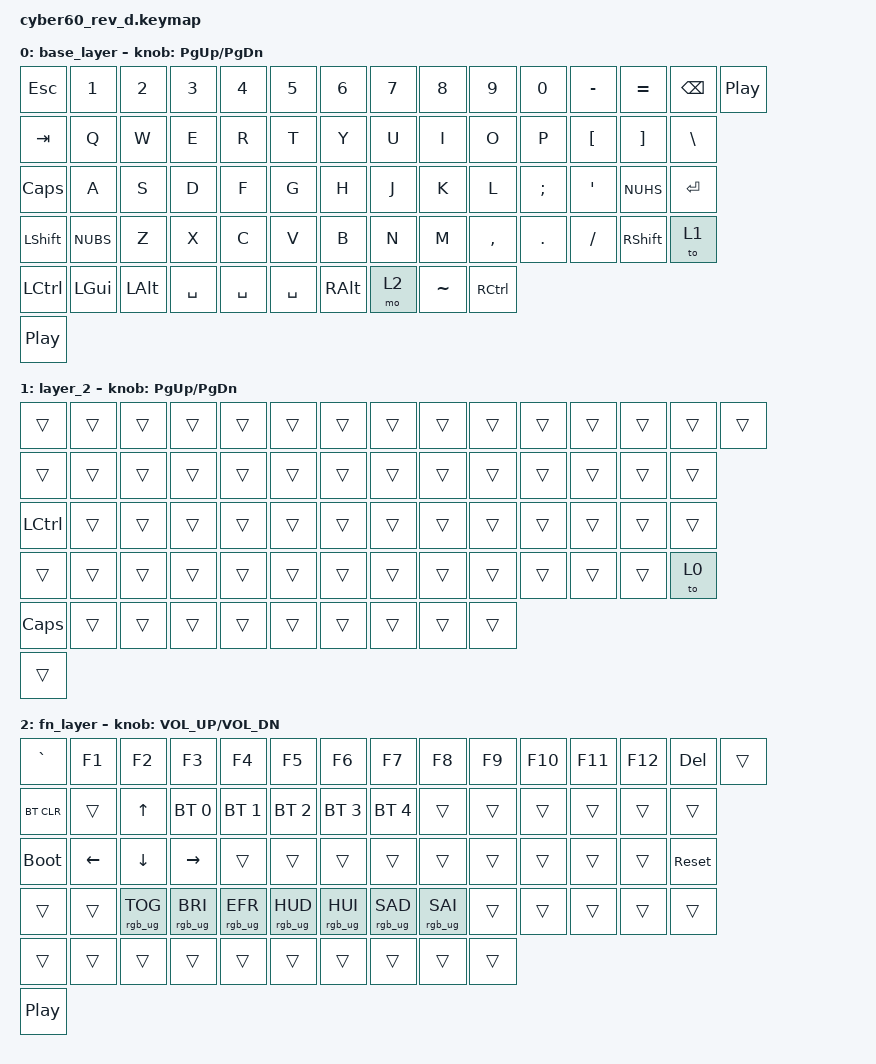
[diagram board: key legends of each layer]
#include <behaviors.dtsi>
#include <dt-bindings/zmk/bt.h>
#include <dt-bindings/zmk/keys.h>
#include <dt-bindings/zmk/rgb.h>

#define FN1 1

/ {
    combos {
        compatible = "zmk,combos";
    };

    keymap {
        compatible = "zmk,keymap";

        base_layer {
            // Base layer
            // ------------------------------------------------------------------------------------------
            // | ESC |  1  |  2  |  3  |  4  |  5  |  6  |  7  |  8  |  9  |  0  |  -  |  =  |   BKSP   |
            // |  TAB |  Q  |  W  |  E  |  R  |  T  |  Y  |  U  |  I  |  O  |  P  |  [  |  ]  |   "|"   |
            // | CAPS  |  A  |  S  |  D  |  F  |  G  |  H  |  J  |  K  |  L  |  ;  |  '  |NUHS| ENTER   |
            // | SHIFT |NUBS| Z |  X  |  C  |  V  |  B  |  N  |  M  |  ,  |  .  |  /  |    Shift   | FN |
            // |  LCTL  |  LWIN  |  LALT  | SPACE  | SPACE |    SPACE   |  RALT | FN  |   RWIN  | RCTRL |
            // | Rotary | (<-- Rotary switch) ----------------------------------------------------------- 

            bindings = <
&kp ESC    &kp N1    &kp N2    &kp N3     &kp N4     &kp N5     &kp NUMBER_6   &kp NUMBER_7  &kp N8     &kp N9     &kp N0    &kp MINUS  &kp EQUAL  &kp BACKSPACE  &kp C_PLAY_PAUSE
&kp TAB    &kp Q     &kp W     &kp E      &kp R      &kp T      &kp Y          &kp U         &kp I      &kp O      &kp P     &kp LBKT   &kp RBKT   &kp BSLH
&kp CLCK   &kp A     &kp S     &kp D      &kp F      &kp G      &kp H          &kp J         &kp K      &kp L      &kp SEMI  &kp SQT    &kp NUHS   &kp RET
&kp LSHFT  &kp NUBS  &kp Z     &kp X      &kp C      &kp V      &kp B          &kp N         &kp M      &kp COMMA  &kp DOT   &kp FSLH   &kp RSHFT  &to 1
&kp LCTRL  &kp LGUI  &kp LALT  &kp SPACE  &kp SPACE  &kp SPACE  &kp RIGHT_ALT  &mo 2         &kp TILDE  &kp RCTRL
&kp C_PP
            >;

            sensor-bindings = <&inc_dec_kp PAGE_UP PAGE_DOWN>;
        };

        layer_2 {
            bindings = <
&trans        &trans  &trans  &trans  &trans  &trans  &trans  &trans  &trans  &trans  &trans  &trans  &trans  &trans  &trans
&trans        &trans  &trans  &trans  &trans  &trans  &trans  &trans  &trans  &trans  &trans  &trans  &trans  &trans
&kp LCTRL     &trans  &trans  &trans  &trans  &trans  &trans  &trans  &trans  &trans  &trans  &trans  &trans  &trans
&trans        &trans  &trans  &trans  &trans  &trans  &trans  &trans  &trans  &trans  &trans  &trans  &trans  &to 0
&kp CAPSLOCK  &trans  &trans  &trans  &trans  &trans  &trans  &trans  &trans  &trans
&trans
            >;

            sensor-bindings = <&inc_dec_kp PAGE_UP PAGE_DOWN>;
        };

        fn_layer {
            // Function layer
            // ------------------------------------------------------------------------------------------
            // | RESET | F1 |  F2 |  F3 |  F4 |  F5 |  F6 |  F7 |  F8 |  F9 | F10 | F11 | F12 |TRNS | DEL |
            // |BT_CLR |TRNS | UP  | BT0 | BT1 | BT2 | BT3 | BT4 | TRNS | TRNS | TRNS | TRNS | TRNS | TRNS|
            // | BOOTL  |LEFT |DOWN |RIGHT|TRNS |TRNS |TRNS | TRNS| TRNS |TRNS| TRNS |TRNS | TRNS | TRNS  |
            // | TRNS |TRNS|TRNS|TRNS|TRNS | TRNS| TRNS | TRNS |  TRNS| TRNS | TRNS| TRNS |   TRNS   |TRNS|
            // |  TRNS | TRNS | TRNS |      TRNS      | TRNS |     TRNS     |  TRNS |  TRNS | TRNS | TRNS |
            // | Rotary | (<-- Rotary switch) ----------------------------------------------------------- 

            bindings = <
&kp GRAVE    &kp F1    &kp F2           &kp F3           &kp F4           &kp F5           &kp F6           &kp F7           &kp F8           &kp F9  &kp F10  &kp F11  &kp F12  &kp DELETE  &trans
&bt BT_CLR   &trans    &kp UP           &bt BT_SEL 0     &bt BT_SEL 1     &bt BT_SEL 2     &bt BT_SEL 3     &bt BT_SEL 4     &trans           &trans  &trans   &trans   &trans   &trans
&bootloader  &kp LEFT  &kp DOWN         &kp RIGHT        &trans           &trans           &trans           &trans           &trans           &trans  &trans   &trans   &trans   &sys_reset
&trans       &trans    &rgb_ug RGB_TOG  &rgb_ug RGB_BRI  &rgb_ug RGB_EFR  &rgb_ug RGB_HUD  &rgb_ug RGB_HUI  &rgb_ug RGB_SAD  &rgb_ug RGB_SAI  &trans  &trans   &trans   &trans   &trans
&trans       &trans    &trans           &trans           &trans           &trans           &trans           &trans           &trans           &trans
&kp C_PP
            >;

            sensor-bindings = <&inc_dec_kp C_VOL_UP C_VOL_DN>;
        };
    };
};
